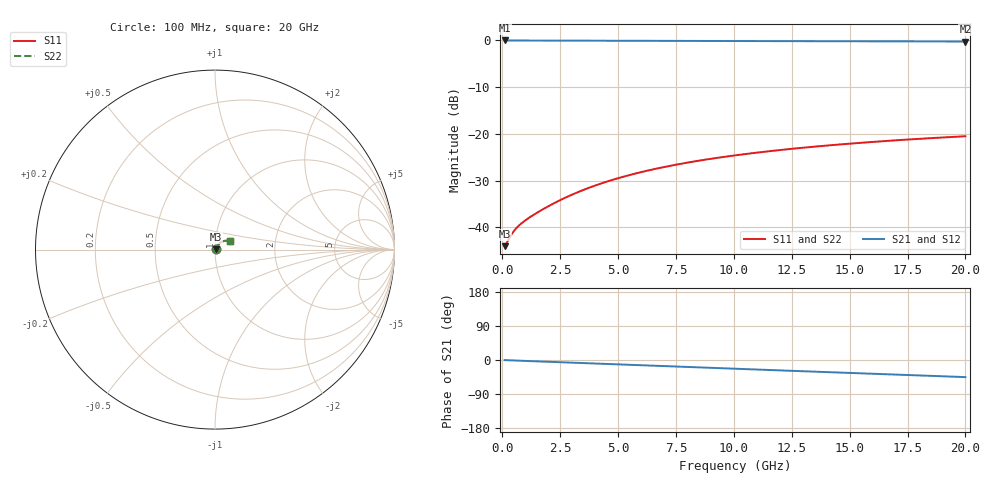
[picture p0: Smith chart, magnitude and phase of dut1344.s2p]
! Touchstone file exported from HFSS 2026.1.0
!  File:  C:/ffzhzh/LocalFiles/Ansys_Project_Files/temp_train_BSMRDL_1344_1783178922_22436.aedt
!  Generated:  11:29:53 PM Jul  4, 2026
!  Design:  BSMRDL
!  Project:  temp_train_BSMRDL_1344_1783178922_22436
! Variables:
!  h_bsmrdl = 3.27um
!  h_ox = 20um
!  h_rdl = 5um
!  h_sub = 80um
!  h_tmrdl = 5um
!  h_tsv = 80um
!  h_via = 3um
!  l_bsmrdl = 813.98um
!  l_sub = 1213.98um
!  l_tmrdl = 200um
!  m_sub = 200um
!  pitch = 19.05um
!  r_tsv = 6um
!  s_tmrdl = 10um
!  w_bsmrdl = 14.56um
!  w_sub = 500um
!  w_tmrdl = 12um
!  x_tsv_center1 = 206um
!  x_tsv_center2 = 1034.54um
!  x_tsv_center3 = 1246.54um
!  x_tsv_center4 = 2075.08um
!  x_tsv_center5 = 2287.08um
!  x_tsv_center6 = 3115.62um
# GHz S MA R 50.000000
! Terminal data exported
! Port[1] = BSM_RDL1_1_T1
! Port[2] = BSM_RDL1_1_T2
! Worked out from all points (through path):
!   200 points, 100 MHz to 20 GHz, reference 50 ohm
!   highest |S21| = -0.05 dB at 100 MHz (marker M1); lowest = -0.3 dB at 20 GHz (marker M2)
!   group delay of S21, straight-line fit = 6.25 ps
!   lowest |S11| = -44.0 dB at 100 MHz (marker M3), VSWR 1.01, Z = 50.6 + j0.125 ohm
!   |S11| at or under -10 dB: start of sweep to end of sweep
!   |S22| runs from -44.0 to -20.5 dB; largest |S21 - S12| = 4.1e-15
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0.1  0.006303 11.3  0.9938 -0.3  0.9938 -0.3  0.006303 11.3
! Gamma 0 0 0 0
! Port Impedance 50 0 50 0
0.2  0.006906 19.9  0.9935 -0.5  0.9935 -0.5  0.006906 19.9
0.4  0.008434 29.3  0.9927 -1.0  0.9927 -1.0  0.008433 29.3
0.5  0.009145 31.8  0.9923 -1.3  0.9923 -1.3  0.009143 31.8
0.6  0.009787 33.7  0.992 -1.5  0.992 -1.5  0.009786 33.7
0.7  0.01037 35.3  0.9917 -1.7  0.9917 -1.7  0.01037 35.3
1  0.01192 39.4  0.9911 -2.4  0.9911 -2.4  0.01192 39.4
1.5  0.01435 45.1  0.9905 -3.6  0.9905 -3.6  0.01435 45.1
2.2  0.01795 50.8  0.9899 -5.2  0.9899 -5.2  0.01794 50.8
2.8  0.02121 53.7  0.9893 -6.6  0.9893 -6.6  0.02121 53.7
3.5  0.02513 55.5  0.9886 -8.2  0.9886 -8.2  0.02512 55.6
4.2  0.02908 56.2  0.9878 -9.8  0.9878 -9.8  0.02907 56.3
5  0.03354 56.2  0.9868 -11.7  0.9868 -11.7  0.03353 56.3
5.9  0.03845 55.5  0.9856 -13.7  0.9856 -13.7  0.03844 55.6
6.8  0.0432 54.4  0.9844 -15.8  0.9844 -15.8  0.04318 54.5
8.3  0.05071 51.9  0.9822 -19.2  0.9822 -19.2  0.05068 52.0
10.1  0.05905 48.6  0.9797 -23.2  0.9797 -23.2  0.05901 48.7
11.7  0.06589 45.5  0.9775 -26.8  0.9775 -26.8  0.06583 45.7
13.4  0.07262 42.1  0.9753 -30.6  0.9753 -30.6  0.07254 42.3
15  0.07848 38.9  0.9734 -34.1  0.9734 -34.1  0.07839 39.2
16.7  0.08425 35.6  0.9715 -37.9  0.9715 -37.9  0.08414 35.9
20  0.09415 29.1  0.9682 -45.1  0.9682 -45.1  0.094 29.5
